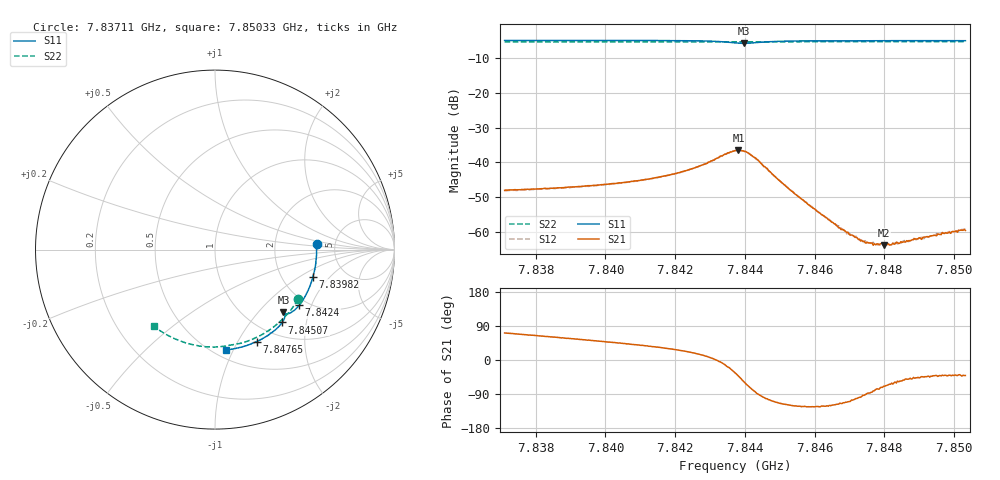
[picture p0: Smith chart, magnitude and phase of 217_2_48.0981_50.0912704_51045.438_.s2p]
#  HZ  S  RI  R  50.00
! Rohde & Schwarz Vector Network Analyzer
! Rohde-Schwarz,ZNB20-2Port,1311601062101988,3.16
! Created: UTC 12/23/2023, 3:56:22 AM
! freq[Hz]  re:S11  im:S11  re:S21  im:S21  re:S12  im:S12  re:S22  im:S22
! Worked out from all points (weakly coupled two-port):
!   401 points, 7.83711 GHz to 7.85033 GHz, reference 50 ohm
!   highest |S21| = -36.53 dB at 7.84382 GHz (marker M1); lowest = -63.9 dB at 7.84798 GHz (marker M2)
!   lowest |S11| = -5.8 dB at 7.84398 GHz (marker M3), VSWR 3.13, Z = 72.9 - j68.9 ohm
!   |S11| at or under -10 dB: nowhere
!   |S22| runs from -5.4 to -5.3 dB; largest |S21 - S12| = 0.00032
!   S11 on the Smith chart (normalised r, x): 7.83711 GHz: 3.58, +0.30; 7.83982 GHz: 2.97, -1.32; 7.8424 GHz: 1.80, -1.64; 7.84507 GHz: 1.25, -1.46; 7.84765 GHz: 0.80, -1.20; 7.85033 GHz: 0.57, -0.94
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7.837108e9  0.5656 0.0288  0.00126 0.00373  0.0013 0.00365  0.4634 -0.2766
7.839322e9  0.5546 -0.118  0.00265 0.00365  0.00259 0.0036  0.3667 -0.3971
7.839818e9  0.5466 -0.1503  0.00304 0.00358  0.00303 0.00353  0.3404 -0.42
7.841536e9  0.5028 -0.259  0.00509 0.00336  0.00506 0.00336  0.2394 -0.4854
7.842395e9  0.4686 -0.3108  0.00727 0.00283  0.0072 0.00286  0.1837 -0.5092
7.842858e9  0.4441 -0.3367  0.00925 0.00172  0.00927 0.00181  0.1527 -0.519
7.843221e9  0.4196 -0.3528  0.0115 -0.00035  0.0116 -0.000183  0.128 -0.5254
7.843717e9  0.3846 -0.3549  0.0122 -0.00816  0.0123 -0.00812  0.0946 -0.5307
7.843816e9  0.3813 -0.3517  0.011 -0.0101  0.011 -0.00998  0.0884 -0.5317
7.843981e9  0.3811 -0.3472  0.00765 -0.0122  0.00759 -0.0122  0.0781 -0.5335
7.844345e9  0.39 -0.357  0.000273 -0.0111  0.000546 -0.0109  0.0544 -0.5378
7.845072e9  0.3747 -0.4058  -0.00217 -0.00452  -0.00216 -0.00456  0.00347 -0.5425
7.845931e9  0.332 -0.4508  -0.00122 -0.00187  -0.00127 -0.00191  -0.0573 -0.5406
7.846691e9  0.2892 -0.4819  -0.000502 -0.00102  -0.000556 -0.00108  -0.11 -0.533
7.846988e9  0.2718 -0.4924  -0.000313 -0.000867  -0.000314 -0.0009  -0.1305 -0.5285
7.847352e9  0.2501 -0.5039  -7.95e-05 -0.000749  -9.06e-05 -0.000731  -0.1551 -0.522
7.847649e9  0.2322 -0.5128  6.22e-05 -0.000684  6.15e-05 -0.000688  -0.1752 -0.5157
7.84798e9  0.2118 -0.5217  0.000227 -0.000596  0.000191 -0.000589  -0.1969 -0.508
7.848145e9  0.2012 -0.5259  0.000286 -0.000584  0.000292 -0.000571  -0.2079 -0.5039
7.848442e9  0.1826 -0.5327  0.000383 -0.000566  0.000383 -0.000548  -0.2269 -0.4959
7.849731e9  0.0995 -0.5539  0.000719 -0.000612  0.000729 -0.000618  -0.3061 -0.4522
7.850326e9  0.0602 -0.5591  0.000791 -0.000683  0.000805 -0.000713  -0.3398 -0.4277
